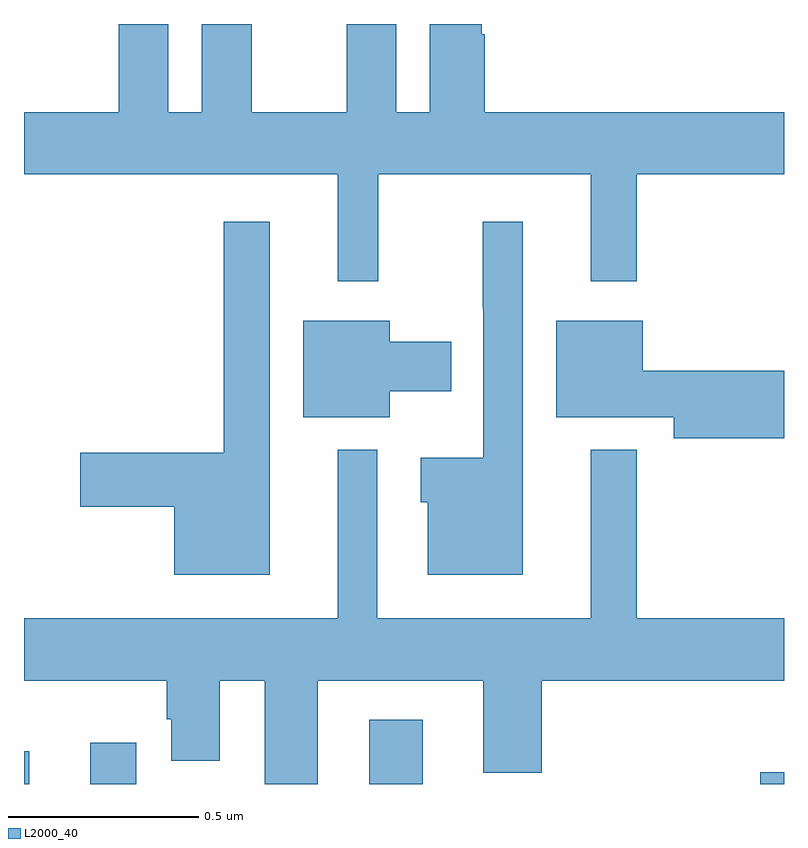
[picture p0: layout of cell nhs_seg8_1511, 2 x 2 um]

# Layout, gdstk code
import gdstk
lib = gdstk.Library(unit=1e-6, precision=1e-09)
def R(c, l, rs):  # rectangles x0, y0, x1, y1
    for r in rs: c.add(gdstk.rectangle(r[:2], r[2:], *l))
def P(c, l, *ps):  # polygons
    for p in ps: c.add(gdstk.Polygon(p, *l))
L2000_40 = (2000, 40)

nhs_seg8_1511 = lib.new_cell('nhs_seg8_1511')
R(nhs_seg8_1511, L2000_40, [(131,1110.9,131.014,1110.986), (131.174,1110.9,131.296,1111.009), (131.909,1110.9,132.049,1111.069), (132.938,1110.9,133,1110.931)])
P(nhs_seg8_1511, L2000_40, [(131.932,1112.504),(132.491,1112.504),(132.491,1112.223),(132.613,1112.223),(132.613,1112.504),(133,1112.504),(133,1112.668),(132.212,1112.668),(132.212,1112.873),(132.205,1112.873),(132.205,1112.9),(132.068,1112.9),(132.068,1112.668),(131.98,1112.668),(131.98,1112.9),(131.849,1112.9),(131.849,1112.668),(131.599,1112.668),(131.599,1112.9),(131.468,1112.9),(131.468,1112.668),(131.38,1112.668),(131.38,1112.9),(131.249,1112.9),(131.249,1112.668),(131,1112.668),(131,1112.504),(131.825,1112.504),(131.825,1112.223),(131.932,1112.223)],
  [(132.313,1112.38),(132.207,1112.38),(132.207,1112.152),(132.209,1112.152),(132.209,1111.759),(132.044,1111.759),(132.044,1111.641),(132.062,1111.641),(132.062,1111.451),(132.313,1111.451)],
  [(131.647,1112.38),(131.526,1112.38),(131.526,1111.772),(131.148,1111.772),(131.148,1111.63),(131.396,1111.63),(131.396,1111.451),(131.647,1111.451)],
  [(131.962,1111.934),(132.124,1111.934),(132.124,1112.064),(131.962,1112.064),(131.962,1112.119),(131.735,1112.119),(131.735,1111.865),(131.962,1111.865)],
  [(133,1111.988),(132.628,1111.988),(132.628,1112.119),(132.401,1112.119),(132.401,1111.865),(132.71,1111.865),(132.71,1111.81),(133,1111.81)],
  [(131,1111.172),(131.375,1111.172),(131.375,1111.071),(131.387,1111.071),(131.387,1110.961),(131.515,1110.961),(131.515,1111.172),(131.633,1111.172),(131.633,1110.9),(131.773,1110.9),(131.773,1111.172),(132.209,1111.172),(132.209,1110.929),(132.362,1110.929),(132.362,1111.172),(133,1111.172),(133,1111.336),(132.613,1111.336),(132.613,1111.78),(132.491,1111.78),(132.491,1111.336),(131.929,1111.336),(131.929,1111.78),(131.825,1111.78),(131.825,1111.336),(131,1111.336)])

lib.write_gds('nhs_seg8_1511.gds')
